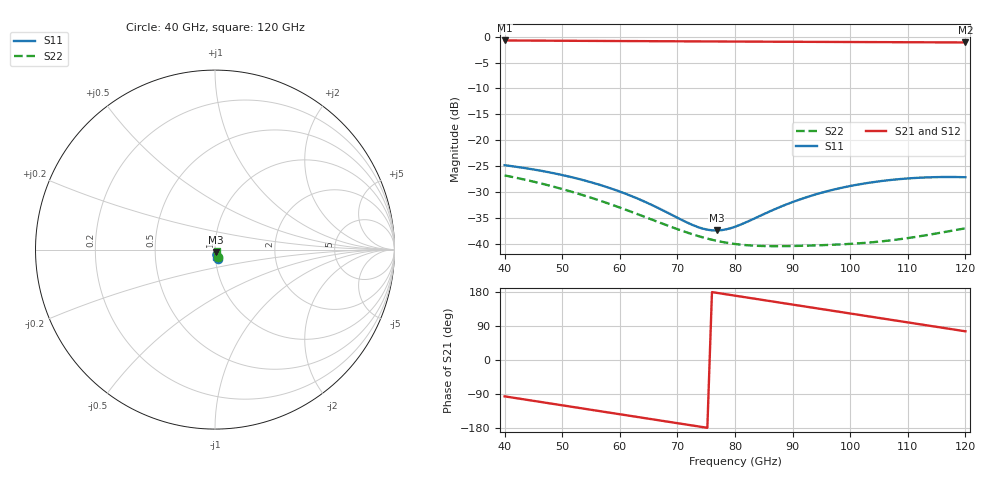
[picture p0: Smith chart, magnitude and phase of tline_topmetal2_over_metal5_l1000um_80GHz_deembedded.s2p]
! Created with skrf 2.0.1 (http://scikit-rf.org).
# GHz S DB R 50.0
!freq dBS11 angS11 dBS21 angS21 dBS12 angS12 dBS22 angS22
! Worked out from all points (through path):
!   101 points, 40 GHz to 120 GHz, reference 50 ohm
!   highest |S21| = -0.73 dB at 40 GHz (marker M1); lowest = -1.1 dB at 120 GHz (marker M2)
!   group delay of S21, straight-line fit = 6.54 ps
!   lowest |S11| = -37.5 dB at 76.8 GHz (marker M3), VSWR 1.03, Z = 50.3 - j1.31 ohm
!   |S11| at or under -10 dB: start of sweep to end of sweep
!   |S22| runs from -40.5 to -26.8 dB; largest |S21 - S12| = 1e-14
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40  -24.85 -72.0  -0.73 -95.9  -0.73 -95.9  -26.83 -66.4
43.2  -25.35 -78.5  -0.75 -103.5  -0.75 -103.5  -27.57 -72.0
46.4  -25.94 -84.9  -0.77 -111.1  -0.77 -111.1  -28.40 -77.2
49.6  -26.65 -90.9  -0.79 -118.6  -0.79 -118.6  -29.33 -82.0
53.6  -27.72 -97.7  -0.81 -128.0  -0.81 -128.0  -30.64 -87.1
60.8  -30.28 -106.9  -0.85 -145.0  -0.85 -145.0  -33.37 -92.9
67.2  -33.42 -108.1  -0.88 -160.1  -0.88 -160.1  -36.06 -92.5
70.4  -35.23 -103.3  -0.90 -167.6  -0.90 -167.6  -37.37 -89.8
73.6  -36.83 -92.6  -0.91 -175.2  -0.91 -175.2  -38.54 -85.3
75.2  -37.32 -85.0  -0.92 -178.9  -0.92 -178.9  -39.04 -82.4
76.8  -37.47 -76.6  -0.93 177.3  -0.93 177.3  -39.47 -79.3
78.4  -37.27 -68.4  -0.93 173.5  -0.93 173.5  -39.81 -76.0
80  -36.75 -61.2  -0.94 169.8  -0.94 169.8  -40.08 -72.7
86.4  -33.61 -47.2  -0.97 154.7  -0.97 154.7  -40.50 -60.6
89.6  -32.14 -46.6  -0.99 147.2  -0.99 147.2  -40.48 -55.8
93.6  -30.63 -48.7  -1.00 137.8  -1.00 137.8  -40.37 -50.9
97.6  -29.44 -52.7  -1.02 128.4  -1.02 128.4  -40.20 -46.5
100.8  -28.70 -56.6  -1.03 120.9  -1.03 120.9  -40.00 -43.3
107.2  -27.68 -65.5  -1.06 105.8  -1.06 105.8  -39.35 -37.5
110.4  -27.38 -70.2  -1.07 98.3  -1.07 98.3  -38.87 -35.4
113.6  -27.20 -74.8  -1.09 90.8  -1.09 90.8  -38.31 -34.0
120  -27.18 -83.9  -1.11 75.7  -1.11 75.7  -37.05 -34.5
